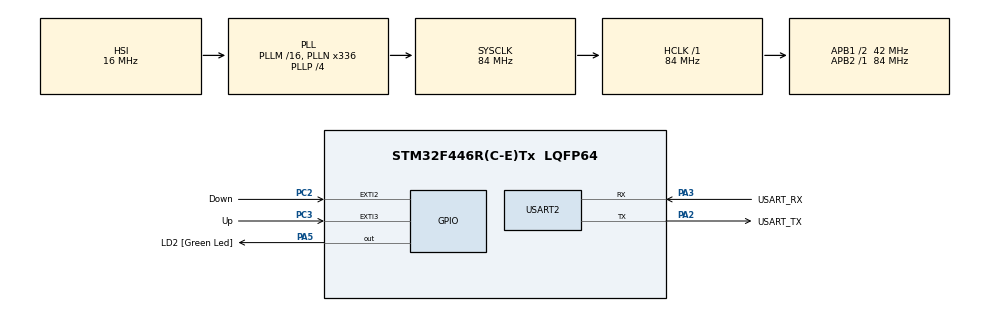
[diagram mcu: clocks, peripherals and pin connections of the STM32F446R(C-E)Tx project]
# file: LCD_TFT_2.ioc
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Mcu.Family=STM32F4
Mcu.Name=STM32F446R(C-E)Tx
Mcu.Package=LQFP64
NVIC.EXTI2_IRQn=true\:0\:0\:false\:false\:true\:true\:true
NVIC.EXTI3_IRQn=true\:0\:0\:false\:false\:true\:true\:true
NVIC.PriorityGroup=NVIC_PRIORITYGROUP_0
PA13.GPIO_Label=TMS
PA13.Mode=Serial_Wire
PA13.Signal=SYS_JTMS-SWDIO
PA14.GPIO_Label=TCK
PA14.Mode=Serial_Wire
PA14.Signal=SYS_JTCK-SWCLK
PA2.GPIO_Label=USART_TX
PA2.Mode=Asynchronous
PA2.Signal=USART2_TX
PA3.GPIO_Label=USART_RX
PA3.Mode=Asynchronous
PA3.Signal=USART2_RX
PA5.GPIO_Label=LD2 [Green Led]
PA5.Signal=GPIO_Output
PB3.GPIO_Label=SWO
PB3.Signal=SYS_JTDO-SWO
PC14-OSC32_IN.Mode=LSE-External-Oscillator
PC14-OSC32_IN.Signal=RCC_OSC32_IN
PC15-OSC32_OUT.Mode=LSE-External-Oscillator
PC15-OSC32_OUT.Signal=RCC_OSC32_OUT
PC2.GPIO_Label=Down
PC2.GPIO_ModeDefaultEXTI=GPIO_MODE_IT_FALLING
PC2.GPIO_PuPd=GPIO_PULLUP
PC2.Signal=GPXTI2
PC3.GPIO_Label=Up
PC3.GPIO_ModeDefaultEXTI=GPIO_MODE_IT_FALLING
PC3.GPIO_PuPd=GPIO_PULLUP
PC3.Signal=GPXTI3
PH0-OSC_IN.Mode=HSE-External-Oscillator
PH0-OSC_IN.Signal=RCC_OSC_IN
PH1-OSC_OUT.Mode=HSE-External-Oscillator
PH1-OSC_OUT.Signal=RCC_OSC_OUT
ProjectManager.HeapSize=0x200
ProjectManager.StackSize=0x400
ProjectManager.TargetToolchain=STM32CubeIDE
RCC.48MHZClocksFreq_Value=84000000
RCC.AHBFreq_Value=84000000
RCC.APB1CLKDivider=RCC_HCLK_DIV2
RCC.APB1Freq_Value=42000000
RCC.APB1TimFreq_Value=84000000
RCC.APB2Freq_Value=84000000
RCC.APB2TimFreq_Value=84000000
RCC.CortexFreq_Value=84000000
RCC.FLatency-AdvancedSettings=FLASH_LATENCY_2
RCC.HCLKFreq_Value=84000000
RCC.HSE_VALUE=8000000
RCC.HSI_VALUE=16000000
RCC.PLLN=336
RCC.PLLP=RCC_PLLP_DIV4
RCC.SYSCLKFreq_VALUE=84000000
RCC.SYSCLKSource=RCC_SYSCLKSOURCE_PLLCLK
RCC.USBFreq_Value=168000000
RCC.VCOOutputFreq_Value=336000000
TIM1.AutoReloadPreload=TIM_AUTORELOAD_PRELOAD_ENABLE
TIM1.Period=65535-1
TIM1.Prescaler=84-1
USART2.VirtualMode=VM_ASYNC
VP_TIM1_VS_ClockSourceINT.Mode=Internal
board=NUCLEO-F446RE

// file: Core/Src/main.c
/* USER CODE BEGIN Header */
/**
  ******************************************************************************
  * @file           : main.c
  * @brief          : Main program body
  ******************************************************************************
  * @attention
  *
  * <h2><center>&copy; Copyright (c) 2021 STMicroelectronics.
  * All rights reserved.</center></h2>
  *
  * This software component is licensed by ST under BSD 3-Clause license,
  * the "License"; You may not use this file except in compliance with the
  * License. You may obtain a copy of the License at:
  *                        opensource.org/licenses/BSD-3-Clause
  *
  ******************************************************************************
  */
/* USER CODE END Header */
#include "main.h"

/* USER CODE BEGIN Includes */
#include "fonts.h"
#include "functions.h"
#include "tft.h"
#include "user_setting.h"
/* USER CODE END Includes */

TIM_HandleTypeDef htim1;
UART_HandleTypeDef huart2;

/* USER CODE BEGIN PV */
uint16_t ID;

uint16_t EixoX = 0;
uint16_t EixoY = 100;

extern const unsigned short usUm_48w70h[3360];
extern const unsigned short usDois_50w70h[3500];
extern const unsigned short usTres_37w70h[2590];
extern const unsigned short usQuatro_21w70h[1470];
extern const unsigned short usCinco_37w70h[2590] ;
extern const unsigned short usSeis_43w70h[3010];
extern const unsigned short usBranco_320w240h[76800];

/* USER CODE END PV */

void SystemClock_Config(void);
static void MX_GPIO_Init(void);
static void MX_USART2_UART_Init(void);
static void MX_TIM1_Init(void);
/* USER CODE BEGIN PFP */
uint16_t passo();
uint16_t passoY();

/* USER CODE END PFP */

int main(void)
{

  /* MCU Configuration--------------------------------------------------------*/

  /* Reset of all peripherals, Initializes the Flash interface and the Systick. */
  HAL_Init();

  /* Configure the system clock */
  SystemClock_Config();

  /* Initialize all configured peripherals */
  MX_GPIO_Init();
  MX_USART2_UART_Init();
  MX_TIM1_Init();
  /* USER CODE BEGIN 2 */

    tft_gpio_init(); //Inicializa os GPIOs do LCD (evita uso do CubeMX)
    HAL_TIM_Base_Start(&htim1); //Inicializa o Timer1 (base de tempo de us do LCD)
    HAL_Delay(100);
    tft_init(tft_readID()); //Inicializa o LCD de acordo com seu ID
    setRotation(1); //Ajusta a orientação da tela
    fillScreen(WHITE); //Preenche a tela em uma só cor

    /* USER CODE END 2 */

  /* Infinite loop */
  /* USER CODE BEGIN WHILE */
  while (1)
 {

	  	  drawRGBBitmap(passo(), EixoY, usUm_48w70h , 48, 70);
	 	  drawRGBBitmap(EixoX, EixoY, usBranco_320w240h , 61, 100);

	 	  drawRGBBitmap(passo(), EixoY, usDois_50w70h , 50, 70);
	 	  drawRGBBitmap(EixoX, EixoY, usBranco_320w240h , 61, 100);

	 	  drawRGBBitmap(passo(), EixoY, usTres_37w70h, 37, 70);
	 	  drawRGBBitmap(EixoX, EixoY, usBranco_320w240h , 61, 100);

	 	  drawRGBBitmap(passo(), EixoY, usQuatro_21w70h , 21, 70);
	 	  drawRGBBitmap(EixoX, EixoY,usBranco_320w240h , 61, 100);

	 	  drawRGBBitmap(passo(), EixoY, usCinco_37w70h , 37, 70);
	 	  drawRGBBitmap(EixoX, EixoY, usBranco_320w240h , 61, 100);

	 	  drawRGBBitmap(passo(), EixoY, usSeis_43w70h , 43, 70);
	 	  drawRGBBitmap(EixoX, EixoY, usBranco_320w240h , 61, 100);

    /* USER CODE END WHILE */

  }
}

void SystemClock_Config(void)
{
  RCC_OscInitTypeDef RCC_OscInitStruct = {0};
  RCC_ClkInitTypeDef RCC_ClkInitStruct = {0};

  /** Configure the main internal regulator output voltage
  */
  __HAL_RCC_PWR_CLK_ENABLE();
  __HAL_PWR_VOLTAGESCALING_CONFIG(PWR_REGULATOR_VOLTAGE_SCALE3);
  /** Initializes the RCC Oscillators according to the specified parameters
  * in the RCC_OscInitTypeDef structure.
  */
  RCC_OscInitStruct.OscillatorType = RCC_OSCILLATORTYPE_HSI;
  RCC_OscInitStruct.HSIState = RCC_HSI_ON;
  RCC_OscInitStruct.HSICalibrationValue = RCC_HSICALIBRATION_DEFAULT;
  RCC_OscInitStruct.PLL.PLLState = RCC_PLL_ON;
  RCC_OscInitStruct.PLL.PLLSource = RCC_PLLSOURCE_HSI;
  RCC_OscInitStruct.PLL.PLLM = 16;
  RCC_OscInitStruct.PLL.PLLN = 336;
  RCC_OscInitStruct.PLL.PLLP = RCC_PLLP_DIV4;
  RCC_OscInitStruct.PLL.PLLQ = 2;
  RCC_OscInitStruct.PLL.PLLR = 2;
  if (HAL_RCC_OscConfig(&RCC_OscInitStruct) != HAL_OK)
  {
    Error_Handler();
  }
  /** Initializes the CPU, AHB and APB buses clocks
  */
  RCC_ClkInitStruct.ClockType = RCC_CLOCKTYPE_HCLK|RCC_CLOCKTYPE_SYSCLK
                              |RCC_CLOCKTYPE_PCLK1|RCC_CLOCKTYPE_PCLK2;
  RCC_ClkInitStruct.SYSCLKSource = RCC_SYSCLKSOURCE_PLLCLK;
  RCC_ClkInitStruct.AHBCLKDivider = RCC_SYSCLK_DIV1;
  RCC_ClkInitStruct.APB1CLKDivider = RCC_HCLK_DIV2;
  RCC_ClkInitStruct.APB2CLKDivider = RCC_HCLK_DIV1;

  if (HAL_RCC_ClockConfig(&RCC_ClkInitStruct, FLASH_LATENCY_2) != HAL_OK)
  {
    Error_Handler();
  }
}

static void MX_TIM1_Init(void)
{

  TIM_ClockConfigTypeDef sClockSourceConfig = {0};
  TIM_MasterConfigTypeDef sMasterConfig = {0};

  htim1.Instance = TIM1;
  htim1.Init.Prescaler = 84-1;
  htim1.Init.CounterMode = TIM_COUNTERMODE_UP;
  htim1.Init.Period = 65535-1;
  htim1.Init.ClockDivision = TIM_CLOCKDIVISION_DIV1;
  htim1.Init.RepetitionCounter = 0;
  htim1.Init.AutoReloadPreload = TIM_AUTORELOAD_PRELOAD_ENABLE;
  if (HAL_TIM_Base_Init(&htim1) != HAL_OK)
  {
    Error_Handler();
  }
  sClockSourceConfig.ClockSource = TIM_CLOCKSOURCE_INTERNAL;
  if (HAL_TIM_ConfigClockSource(&htim1, &sClockSourceConfig) != HAL_OK)
  {
    Error_Handler();
  }
  sMasterConfig.MasterOutputTrigger = TIM_TRGO_RESET;
  sMasterConfig.MasterSlaveMode = TIM_MASTERSLAVEMODE_DISABLE;
  if (HAL_TIMEx_MasterConfigSynchronization(&htim1, &sMasterConfig) != HAL_OK)
  {
    Error_Handler();
  }

}

static void MX_USART2_UART_Init(void)
{

  huart2.Instance = USART2;
  huart2.Init.BaudRate = 115200;
  huart2.Init.WordLength = UART_WORDLENGTH_8B;
  huart2.Init.StopBits = UART_STOPBITS_1;
  huart2.Init.Parity = UART_PARITY_NONE;
  huart2.Init.Mode = UART_MODE_TX_RX;
  huart2.Init.HwFlowCtl = UART_HWCONTROL_NONE;
  huart2.Init.OverSampling = UART_OVERSAMPLING_16;
  if (HAL_UART_Init(&huart2) != HAL_OK)
  {
    Error_Handler();
  }

}

static void MX_GPIO_Init(void)
{
  GPIO_InitTypeDef GPIO_InitStruct = {0};

  /* GPIO Ports Clock Enable */
  __HAL_RCC_GPIOC_CLK_ENABLE();
  __HAL_RCC_GPIOH_CLK_ENABLE();
  __HAL_RCC_GPIOA_CLK_ENABLE();
  __HAL_RCC_GPIOB_CLK_ENABLE();

  /*Configure GPIO pin Output Level */
  HAL_GPIO_WritePin(LD2_GPIO_Port, LD2_Pin, GPIO_PIN_RESET);

  /*Configure GPIO pins : Down_Pin Up_Pin */
  GPIO_InitStruct.Pin = Down_Pin|Up_Pin;
  GPIO_InitStruct.Mode = GPIO_MODE_IT_FALLING;
  GPIO_InitStruct.Pull = GPIO_PULLUP;
  HAL_GPIO_Init(GPIOC, &GPIO_InitStruct);

  /*Configure GPIO pin : LD2_Pin */
  GPIO_InitStruct.Pin = LD2_Pin;
  GPIO_InitStruct.Mode = GPIO_MODE_OUTPUT_PP;
  GPIO_InitStruct.Pull = GPIO_NOPULL;
  GPIO_InitStruct.Speed = GPIO_SPEED_FREQ_LOW;
  HAL_GPIO_Init(LD2_GPIO_Port, &GPIO_InitStruct);

  /* EXTI interrupt init*/
  HAL_NVIC_SetPriority(EXTI2_IRQn, 0, 0);
  HAL_NVIC_EnableIRQ(EXTI2_IRQn);

  HAL_NVIC_SetPriority(EXTI3_IRQn, 0, 0);
  HAL_NVIC_EnableIRQ(EXTI3_IRQn);

}

/* USER CODE BEGIN 4 */

/* Função para fazer o corredor se deslocar na tela
*/

uint16_t passo()
{
	if (EixoX >= 320)
	{
		EixoX = 0;
		return EixoX;
	}
	else
	{
		EixoX +=20;
		return EixoX;
	}

}

/* FUNÇÃO PARA RETORNAR O CORREDOR PARA O INICIO DA TELA
*/
uint16_t passoY()
{
	if (EixoY == 170)
	{
		EixoY = 100;
		return EixoY;
	}
	else
	{
		EixoY +=70;
		return EixoY;
	}

}

void HAL_GPIO_EXTI_Callback(uint16_t GPIO_Pin)
{

	if(GPIO_Pin == 0x4) EixoY = 200;

	else if (GPIO_Pin == 0x8) EixoY = 100;

}

/* USER CODE END 4 */

void Error_Handler(void)
{
  __disable_irq();
  while (1)
  {
  }
}

/************************ (C) COPYRIGHT STMicroelectronics *****END OF FILE****/
